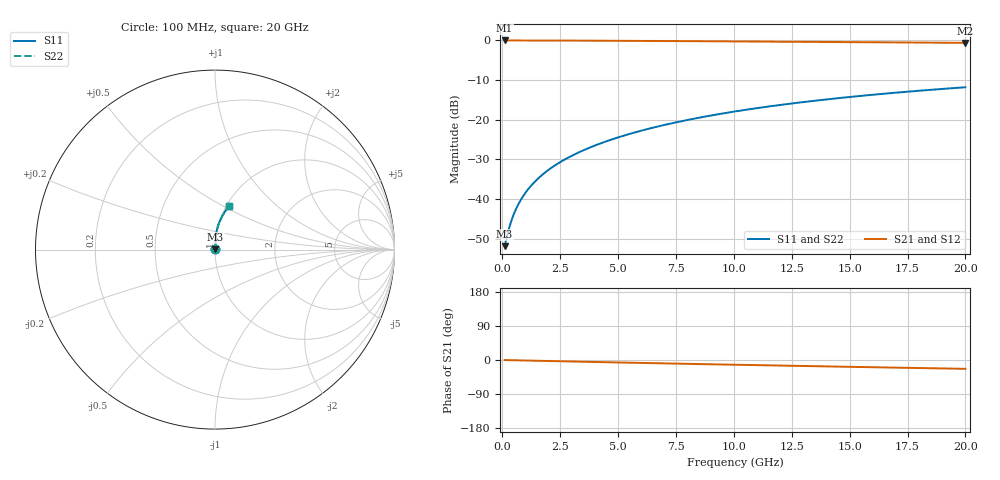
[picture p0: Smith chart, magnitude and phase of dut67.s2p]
! Touchstone file exported from HFSS 2024.1.0
!  File:  C:/UserFiles/LocalFiles/RDL_TSV_Batchsim/temp_RDL_top_67_1778681952.aedt
!  Generated:  10:21:35 PM May 13, 2026
!  Design:  RDL_top
!  Project:  temp_RDL_top_67_1778681952
!  Setup:  Setup1
!  Solution:  Sweep
! Variables:
!  dtsv = 10.80580581um
!  hbump = 3um
!  htsv = 84.95um
!  ldown = 100um
!  lrdl = 276.25um
!  p = 40
!  p1 = 53.99um
!  rhole = 1um
!  t = 450um
!  tdown = 3.915915916um
!  trdl = 2.31um
!  wdown = 15.38538539um
!  wrdl = 22.61um
# GHz S MA R 50.000000
! Terminal data exported
! Port[1] = Box2_T1
! Port[2] = Box2_T2
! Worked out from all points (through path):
!   200 points, 100 MHz to 20 GHz, reference 50 ohm
!   highest |S21| = -0.02 dB at 100 MHz (marker M1); lowest = -0.6 dB at 20 GHz (marker M2)
!   group delay of S21, straight-line fit = 3.21 ps
!   lowest |S11| = -51.9 dB at 100 MHz (marker M3), VSWR 1.01, Z = 50.2 + j0.126 ohm
!   |S11| at or under -10 dB: start of sweep to end of sweep
!   |S22| runs from -51.9 to -11.8 dB; largest |S21 - S12| = 3.5e-15
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0.1  0.002554 29.4  0.9978 -0.1  0.9978 -0.1  0.002554 29.4
! Gamma 0 0 0 0
! Port Impedance 50 0 50 0
0.3  0.004366 57.5  0.9976 -0.4  0.9976 -0.4  0.004366 57.5
0.4  0.005421 63.6  0.9975 -0.6  0.9975 -0.6  0.005421 63.6
0.5  0.006498 67.7  0.9974 -0.7  0.9974 -0.7  0.006498 67.7
0.6  0.007586 70.6  0.9973 -0.8  0.9973 -0.8  0.007586 70.6
0.8  0.009785 74.7  0.9971 -1.1  0.9971 -1.1  0.009785 74.7
1  0.01201 77.4  0.9969 -1.4  0.9969 -1.4  0.01201 77.4
1.2  0.01426 79.3  0.9966 -1.6  0.9966 -1.6  0.01426 79.3
1.4  0.01652 80.7  0.9964 -1.9  0.9964 -1.9  0.01652 80.7
1.7  0.01995 82.3  0.996 -2.3  0.996 -2.3  0.01995 82.3
2.2  0.02573 84.0  0.9952 -2.9  0.9952 -2.9  0.02573 84.0
2.8  0.03278 85.2  0.994 -3.7  0.994 -3.7  0.03278 85.2
3.5  0.0412 86.1  0.9924 -4.6  0.9924 -4.6  0.0412 86.1
4.2  0.04981 86.5  0.9906 -5.5  0.9906 -5.5  0.04981 86.5
5  0.0599 86.6  0.9883 -6.5  0.9883 -6.5  0.05989 86.6
5.9  0.07151 86.5  0.9854 -7.6  0.9854 -7.6  0.0715 86.5
6.8  0.08335 86.0  0.9823 -8.7  0.9823 -8.7  0.08335 86.0
8.4  0.1048 84.8  0.9766 -10.6  0.9766 -10.6  0.1048 84.8
10.1  0.1279 83.2  0.9703 -12.6  0.9703 -12.6  0.1279 83.2
13.4  0.1724 79.5  0.9576 -16.3  0.9576 -16.3  0.1724 79.4
16.7  0.2156 75.5  0.9444 -19.8  0.9444 -19.8  0.2155 75.5
20  0.2568 71.7  0.9306 -23.3  0.9306 -23.3  0.2567 71.7
